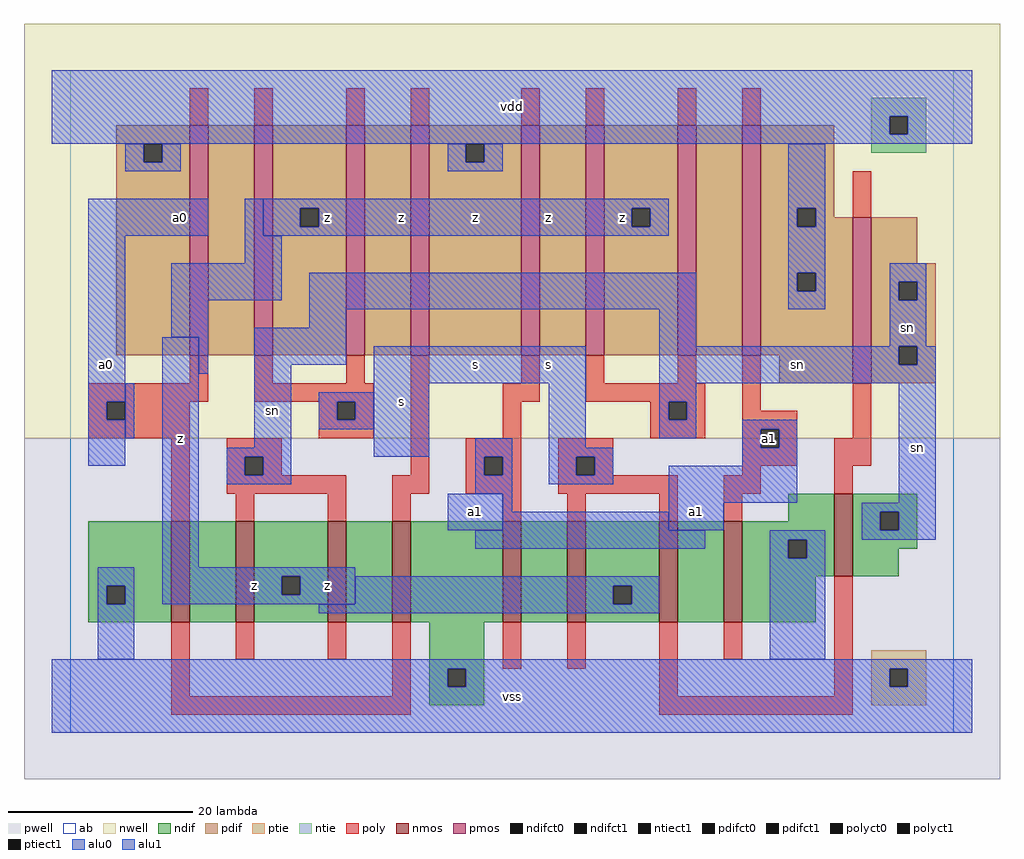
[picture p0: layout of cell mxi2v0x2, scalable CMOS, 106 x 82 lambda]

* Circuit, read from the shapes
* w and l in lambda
.subckt mxi2v0x2 a0 a1 s sn vdd vss z
M1 n1 a0 vss vss nfet w=11 l=2
M2 z sn n1 vss nfet w=11 l=2
M3 n2 sn z vss nfet w=11 l=2
M4 vss a0 n2 vss nfet w=11 l=2
M5 n3 a1 vss vss nfet w=11 l=2
M6 z s n3 vss nfet w=11 l=2
M7 n4 s z vss nfet w=11 l=2
M8 vss a1 n4 vss nfet w=11 l=2
M9 sn s vss vss nfet w=9 l=2
M10 n5 a0 vdd vdd pfet w=25 l=2
M11 z s n5 vdd pfet w=25 l=2
M12 n6 s z vdd pfet w=25 l=2
M13 vdd a0 n6 vdd pfet w=25 l=2
M14 n7 a1 vdd vdd pfet w=25 l=2
M15 z sn n7 vdd pfet w=25 l=2
M16 n8 sn z vdd pfet w=25 l=2
M17 vdd a1 n8 vdd pfet w=25 l=2
M18 sn s vdd vdd pfet w=18 l=2
.ends

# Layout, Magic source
magic
tech scmos
<< ab >>
rect 0 0 96 72
<< nwell >>
rect -5 32 101 77
<< pwell >>
rect -5 -5 101 32
<< poly >>
rect 13 66 15 70
rect 20 66 22 70
rect 30 66 32 70
rect 37 66 39 70
rect 49 66 51 70
rect 56 66 58 70
rect 66 66 68 70
rect 73 66 75 70
rect 85 56 87 61
rect 13 38 15 41
rect 2 36 15 38
rect 20 38 22 41
rect 30 38 32 41
rect 20 36 33 38
rect 2 34 4 36
rect 6 34 13 36
rect 2 32 13 34
rect 27 34 29 36
rect 31 34 33 36
rect 27 32 33 34
rect 11 23 13 32
rect 17 30 23 32
rect 17 28 19 30
rect 21 28 23 30
rect 37 28 39 41
rect 49 38 51 41
rect 47 36 51 38
rect 56 38 58 41
rect 66 38 68 41
rect 56 36 69 38
rect 47 32 49 36
rect 63 34 65 36
rect 67 34 69 36
rect 63 32 69 34
rect 73 35 75 41
rect 73 33 79 35
rect 17 26 30 28
rect 18 23 20 26
rect 28 23 30 26
rect 35 26 39 28
rect 43 30 49 32
rect 43 28 45 30
rect 47 28 49 30
rect 43 26 49 28
rect 53 30 59 32
rect 53 28 55 30
rect 57 28 59 30
rect 73 31 75 33
rect 77 31 79 33
rect 85 32 87 38
rect 73 29 79 31
rect 83 29 87 32
rect 73 28 75 29
rect 53 26 66 28
rect 35 23 37 26
rect 47 23 49 26
rect 54 23 56 26
rect 64 23 66 26
rect 71 26 75 28
rect 83 26 85 29
rect 71 23 73 26
rect 11 4 13 12
rect 18 8 20 12
rect 28 8 30 12
rect 35 4 37 12
rect 11 2 37 4
rect 47 7 49 12
rect 54 7 56 12
rect 64 4 66 12
rect 71 8 73 12
rect 83 4 85 17
rect 64 2 85 4
<< ndif >>
rect 78 23 83 26
rect 2 16 11 23
rect 2 14 4 16
rect 6 14 11 16
rect 2 12 11 14
rect 13 12 18 23
rect 20 17 28 23
rect 20 15 23 17
rect 25 15 28 17
rect 20 12 28 15
rect 30 12 35 23
rect 37 12 47 23
rect 49 12 54 23
rect 56 16 64 23
rect 56 14 59 16
rect 61 14 64 16
rect 56 12 64 14
rect 66 12 71 23
rect 73 21 83 23
rect 73 19 78 21
rect 80 19 83 21
rect 73 17 83 19
rect 85 24 92 26
rect 85 22 88 24
rect 90 22 92 24
rect 85 20 92 22
rect 85 17 90 20
rect 73 12 81 17
rect 39 7 45 12
rect 39 5 41 7
rect 43 5 45 7
rect 39 3 45 5
<< pdif >>
rect 5 64 13 66
rect 5 62 8 64
rect 10 62 13 64
rect 5 41 13 62
rect 15 41 20 66
rect 22 57 30 66
rect 22 55 25 57
rect 27 55 30 57
rect 22 41 30 55
rect 32 41 37 66
rect 39 64 49 66
rect 39 62 43 64
rect 45 62 49 64
rect 39 41 49 62
rect 51 41 56 66
rect 58 57 66 66
rect 58 55 61 57
rect 63 55 66 57
rect 58 41 66 55
rect 68 41 73 66
rect 75 57 83 66
rect 75 55 79 57
rect 81 56 83 57
rect 81 55 85 56
rect 75 50 85 55
rect 75 48 79 50
rect 81 48 85 50
rect 75 41 85 48
rect 77 38 85 41
rect 87 51 92 56
rect 87 49 94 51
rect 87 47 90 49
rect 92 47 94 49
rect 87 42 94 47
rect 87 40 90 42
rect 92 40 94 42
rect 87 38 94 40
<< alu1 >>
rect -2 67 98 72
rect -2 65 89 67
rect 91 65 98 67
rect -2 64 98 65
rect 2 54 15 58
rect 21 57 65 58
rect 21 55 25 57
rect 27 55 61 57
rect 63 55 65 57
rect 21 54 65 55
rect 2 36 6 54
rect 2 34 4 36
rect 2 29 6 34
rect 10 18 14 43
rect 33 38 56 42
rect 33 30 39 38
rect 52 31 56 38
rect 73 33 79 34
rect 73 31 75 33
rect 77 31 79 33
rect 52 30 59 31
rect 52 28 55 30
rect 57 28 59 30
rect 73 29 79 31
rect 52 27 59 28
rect 41 22 47 26
rect 65 25 79 29
rect 65 22 71 25
rect 10 17 31 18
rect 10 15 23 17
rect 25 15 31 17
rect 10 14 31 15
rect -2 7 98 8
rect -2 5 41 7
rect 43 5 89 7
rect 91 5 98 7
rect -2 0 98 5
<< ptie >>
rect 87 7 93 9
rect 87 5 89 7
rect 91 5 93 7
rect 87 3 93 5
<< ntie >>
rect 87 67 93 69
rect 87 65 89 67
rect 91 65 93 67
rect 87 63 93 65
<< nmos >>
rect 11 12 13 23
rect 18 12 20 23
rect 28 12 30 23
rect 35 12 37 23
rect 47 12 49 23
rect 54 12 56 23
rect 64 12 66 23
rect 71 12 73 23
rect 83 17 85 26
<< pmos >>
rect 13 41 15 66
rect 20 41 22 66
rect 30 41 32 66
rect 37 41 39 66
rect 49 41 51 66
rect 56 41 58 66
rect 66 41 68 66
rect 73 41 75 66
rect 85 38 87 56
<< polyct0 >>
rect 29 34 31 36
rect 19 28 21 30
rect 65 34 67 36
rect 45 28 47 30
<< polyct1 >>
rect 4 34 6 36
rect 55 28 57 30
rect 75 31 77 33
<< ndifct0 >>
rect 4 14 6 16
rect 59 14 61 16
rect 78 19 80 21
rect 88 22 90 24
<< ndifct1 >>
rect 23 15 25 17
rect 41 5 43 7
<< ntiect1 >>
rect 89 65 91 67
<< ptiect1 >>
rect 89 5 91 7
<< pdifct0 >>
rect 8 62 10 64
rect 43 62 45 64
rect 79 55 81 57
rect 79 48 81 50
rect 90 47 92 49
rect 90 40 92 42
<< pdifct1 >>
rect 25 55 27 57
rect 61 55 63 57
<< alu0 >>
rect 6 62 8 64
rect 10 62 12 64
rect 6 61 12 62
rect 41 62 43 64
rect 45 62 47 64
rect 41 61 47 62
rect 19 54 21 58
rect 78 57 82 64
rect 78 55 79 57
rect 81 55 82 57
rect 19 51 23 54
rect 11 47 23 51
rect 78 50 82 55
rect 11 43 15 47
rect 26 46 68 50
rect 78 48 79 50
rect 81 48 82 50
rect 78 46 82 48
rect 89 49 93 51
rect 89 47 90 49
rect 92 47 93 49
rect 26 44 30 46
rect 6 32 7 38
rect 14 39 15 43
rect 20 40 30 44
rect 64 42 68 46
rect 89 42 93 47
rect 20 31 24 40
rect 27 36 33 37
rect 27 34 29 36
rect 31 34 33 36
rect 27 33 33 34
rect 17 30 24 31
rect 44 30 48 32
rect 17 28 19 30
rect 21 28 24 30
rect 17 27 24 28
rect 44 28 45 30
rect 47 28 48 30
rect 44 26 48 28
rect 64 40 90 42
rect 92 40 94 42
rect 64 38 94 40
rect 64 36 68 38
rect 64 34 65 36
rect 67 34 68 36
rect 64 32 68 34
rect 47 24 48 26
rect 90 25 94 38
rect 47 22 65 24
rect 86 24 94 25
rect 86 22 88 24
rect 90 22 94 24
rect 44 20 69 22
rect 76 21 82 22
rect 86 21 94 22
rect 76 19 78 21
rect 80 19 82 21
rect 3 16 7 18
rect 3 14 4 16
rect 6 14 7 16
rect 31 16 64 17
rect 31 14 59 16
rect 61 14 64 16
rect 3 8 7 14
rect 27 13 64 14
rect 76 8 82 19
<< labels >>
rlabel alu0 22 35 22 35 6 sn
rlabel alu0 91 44 91 44 6 sn
rlabel alu0 92 31 92 31 6 sn
rlabel alu0 79 40 79 40 6 sn
rlabel alu1 20 16 20 16 6 z
rlabel alu1 12 32 12 32 6 z
rlabel alu1 4 40 4 40 6 a0
rlabel alu1 12 56 12 56 6 a0
rlabel alu1 28 16 28 16 6 z
rlabel alu1 44 24 44 24 6 a1
rlabel alu1 36 36 36 36 6 s
rlabel alu1 44 40 44 40 6 s
rlabel alu1 28 56 28 56 6 z
rlabel alu1 44 56 44 56 6 z
rlabel alu1 36 56 36 56 6 z
rlabel alu1 48 4 48 4 6 vss
rlabel alu1 68 24 68 24 6 a1
rlabel alu1 52 40 52 40 6 s
rlabel alu1 60 56 60 56 6 z
rlabel alu1 52 56 52 56 6 z
rlabel alu1 48 68 48 68 6 vdd
rlabel polyct1 76 32 76 32 6 a1
<< end >>
